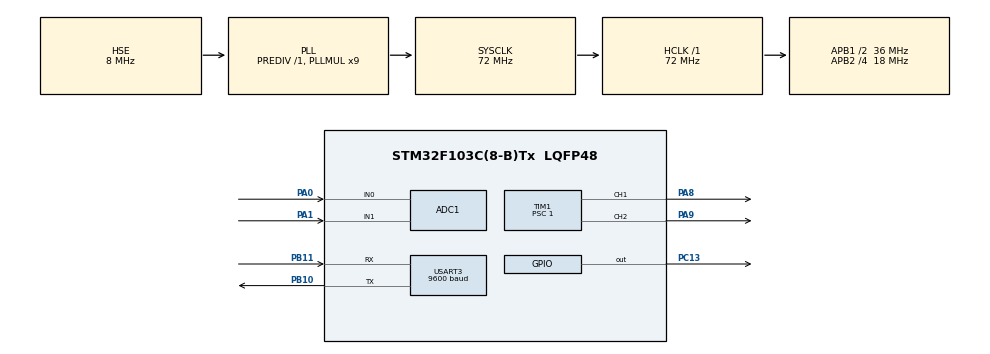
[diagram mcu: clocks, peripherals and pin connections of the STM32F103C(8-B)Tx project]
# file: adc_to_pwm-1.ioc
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ADC1.Channel-0\#ChannelRegularConversion=ADC_CHANNEL_1
ADC1.ContinuousConvMode=DISABLE
ADC1.NbrOfConversion=1
ADC1.NbrOfConversionFlag=1
ADC1.Rank-0\#ChannelRegularConversion=1
ADC1.SamplingTime-0\#ChannelRegularConversion=ADC_SAMPLETIME_13CYCLES_5
ADC1.master=1
Mcu.Family=STM32F1
Mcu.Name=STM32F103C(8-B)Tx
Mcu.Package=LQFP48
NVIC.PriorityGroup=NVIC_PRIORITYGROUP_4
PA0-WKUP.Signal=ADCx_IN0
PA1.Signal=ADCx_IN1
PA13.Mode=Serial_Wire
PA13.Signal=SYS_JTMS-SWDIO
PA14.Mode=Serial_Wire
PA14.Signal=SYS_JTCK-SWCLK
PA8.Signal=S_TIM1_CH1
PA9.Signal=S_TIM1_CH2
PB10.Mode=Asynchronous
PB10.Signal=USART3_TX
PB11.Mode=Asynchronous
PB11.Signal=USART3_RX
PC13-TAMPER-RTC.Signal=GPIO_Output
PD0-OSC_IN.Mode=HSE-External-Oscillator
PD0-OSC_IN.Signal=RCC_OSC_IN
PD1-OSC_OUT.Mode=HSE-External-Oscillator
PD1-OSC_OUT.Signal=RCC_OSC_OUT
ProjectManager.HeapSize=0x200
ProjectManager.StackSize=0x400
ProjectManager.TargetToolchain=TrueSTUDIO
RCC.AHBFreq_Value=72000000
RCC.APB1CLKDivider=RCC_HCLK_DIV2
RCC.APB1Freq_Value=36000000
RCC.APB1TimFreq_Value=72000000
RCC.APB2CLKDivider=RCC_HCLK_DIV4
RCC.APB2Freq_Value=18000000
RCC.APB2TimFreq_Value=36000000
RCC.HCLKFreq_Value=72000000
RCC.PLLMUL=RCC_PLL_MUL9
RCC.PLLSourceVirtual=RCC_PLLSOURCE_HSE
RCC.SYSCLKFreq_VALUE=72000000
RCC.SYSCLKSource=RCC_SYSCLKSOURCE_PLLCLK
RCC.USBFreq_Value=72000000
SH.ADCx_IN0.0=ADC1_IN0,IN0
SH.ADCx_IN1.0=ADC1_IN1,IN1
SH.S_TIM1_CH1.0=TIM1_CH1,PWM Generation1 CH1
SH.S_TIM1_CH2.0=TIM1_CH2,PWM Generation2 CH2
TIM1.Channel-PWM\ Generation1\ CH1=TIM_CHANNEL_1
TIM1.Channel-PWM\ Generation2\ CH2=TIM_CHANNEL_2
TIM1.Period=4095
TIM1.Prescaler=1
TIM1.Pulse-PWM\ Generation1\ CH1=2048
TIM1.Pulse-PWM\ Generation2\ CH2=1024
USART3.BaudRate=9600
USART3.VirtualMode=VM_ASYNC
VP_TIM1_VS_ClockSourceINT.Mode=Internal
board=custom

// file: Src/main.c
/* USER CODE BEGIN Header */
/**
  ******************************************************************************
  * @file           : main.c
  * @brief          : Main program body
  ******************************************************************************
  * @attention
  *
  * <h2><center>&copy; Copyright (c) 2020 STMicroelectronics.
  * All rights reserved.</center></h2>
  *
  * This software component is licensed by ST under BSD 3-Clause license,
  * the "License"; You may not use this file except in compliance with the
  * License. You may obtain a copy of the License at:
  *                        opensource.org/licenses/BSD-3-Clause
  *
  ******************************************************************************
  */
/* USER CODE END Header */

#include "main.h"
#include "adc.h"
#include "tim.h"
#include "usart.h"
#include "gpio.h"

/* USER CODE BEGIN Includes */
#include "string.h"
#include <stdio.h>
/* USER CODE END Includes */

/* USER CODE BEGIN PV */
char trans_str[64] = {0,};
uint16_t adc = 0;

uint32_t adc0_soil;
uint32_t adc1;

//uint8_t str[] = "USART Transmit\r\n";
/* USER CODE END PV */

void SystemClock_Config(void);

/* USER CODE BEGIN 0 */
uint32_t ADC_Result(ADC_HandleTypeDef *hadc, uint32_t ch){

       ADC_ChannelConfTypeDef sConfig;
       uint32_t adcResult = 0;

       sConfig.Channel = ch;
       sConfig.Rank = ADC_REGULAR_RANK_1;
       sConfig.SamplingTime = ADC_SAMPLETIME_13CYCLES_5;
       HAL_ADC_ConfigChannel(hadc, &sConfig);

       HAL_ADC_Start(hadc);
       HAL_ADC_PollForConversion(hadc, 100);
       adcResult = HAL_ADC_GetValue(hadc);
       HAL_ADC_Stop(hadc);

       return adcResult;
}

/* USER CODE END 0 */

int main(void)
{

  /* MCU Configuration--------------------------------------------------------*/

  /* Reset of all peripherals, Initializes the Flash interface and the Systick. */
  HAL_Init();

  /* Configure the system clock */
  SystemClock_Config();

  /* Initialize all configured peripherals */
  MX_GPIO_Init();
  MX_ADC1_Init();
  MX_TIM1_Init();
  MX_USART3_UART_Init();
  /* USER CODE BEGIN 2 */

  HAL_ADCEx_Calibration_Start(&hadc1);

  HAL_TIM_PWM_Start_IT(&htim1, TIM_CHANNEL_1);
  HAL_TIM_PWM_Start_IT(&htim1, TIM_CHANNEL_2);

  /* USER CODE END 2 */

  /* Infinite loop */
  while (1)
  {

    /* USER CODE BEGIN 3 */
	  	//HAL_UART_Transmit(&huart3,str,16,0xFFFF);

		HAL_GPIO_TogglePin(GPIOC, GPIO_PIN_13);
		HAL_Delay(500);
		HAL_GPIO_TogglePin(GPIOC, GPIO_PIN_13);
		HAL_Delay(500);

		adc0_soil = ADC_Result(&hadc1, 0);
		adc1 = ADC_Result(&hadc1, 1);

		 __HAL_TIM_SET_COMPARE(&htim1, TIM_CHANNEL_1, adc0_soil);
		 __HAL_TIM_SET_COMPARE(&htim1, TIM_CHANNEL_2, adc1);

		//snprintf(trans_str, 63, "ADC %lu\n", adc0);
		snprintf(trans_str, 63, "ADC 0: %lu, ADC 1: %lu\n", adc0_soil, adc1);
		HAL_UART_Transmit(&huart3, (uint8_t*)trans_str, strlen(trans_str), 1000);

		//HAL_Delay(500);

		/*
		HAL_ADC_Start(&hadc1);
		HAL_ADC_PollForConversion(&hadc1,100);
		i = (uint16_t) HAL_ADC_GetValue(&hadc1);
		HAL_ADC_Stop(&hadc1);
		*/

  }
  /* USER CODE END 3 */
}

void SystemClock_Config(void)
{
  RCC_OscInitTypeDef RCC_OscInitStruct = {0};
  RCC_ClkInitTypeDef RCC_ClkInitStruct = {0};
  RCC_PeriphCLKInitTypeDef PeriphClkInit = {0};

  /** Initializes the CPU, AHB and APB busses clocks
  */
  RCC_OscInitStruct.OscillatorType = RCC_OSCILLATORTYPE_HSE;
  RCC_OscInitStruct.HSEState = RCC_HSE_ON;
  RCC_OscInitStruct.HSEPredivValue = RCC_HSE_PREDIV_DIV1;
  RCC_OscInitStruct.HSIState = RCC_HSI_ON;
  RCC_OscInitStruct.PLL.PLLState = RCC_PLL_ON;
  RCC_OscInitStruct.PLL.PLLSource = RCC_PLLSOURCE_HSE;
  RCC_OscInitStruct.PLL.PLLMUL = RCC_PLL_MUL9;
  if (HAL_RCC_OscConfig(&RCC_OscInitStruct) != HAL_OK)
  {
    Error_Handler();
  }
  /** Initializes the CPU, AHB and APB busses clocks
  */
  RCC_ClkInitStruct.ClockType = RCC_CLOCKTYPE_HCLK|RCC_CLOCKTYPE_SYSCLK
                              |RCC_CLOCKTYPE_PCLK1|RCC_CLOCKTYPE_PCLK2;
  RCC_ClkInitStruct.SYSCLKSource = RCC_SYSCLKSOURCE_PLLCLK;
  RCC_ClkInitStruct.AHBCLKDivider = RCC_SYSCLK_DIV1;
  RCC_ClkInitStruct.APB1CLKDivider = RCC_HCLK_DIV2;
  RCC_ClkInitStruct.APB2CLKDivider = RCC_HCLK_DIV4;

  if (HAL_RCC_ClockConfig(&RCC_ClkInitStruct, FLASH_LATENCY_2) != HAL_OK)
  {
    Error_Handler();
  }
  PeriphClkInit.PeriphClockSelection = RCC_PERIPHCLK_ADC;
  PeriphClkInit.AdcClockSelection = RCC_ADCPCLK2_DIV2;
  if (HAL_RCCEx_PeriphCLKConfig(&PeriphClkInit) != HAL_OK)
  {
    Error_Handler();
  }
}

void Error_Handler(void)
{
}

/************************ (C) COPYRIGHT STMicroelectronics *****END OF FILE****/
